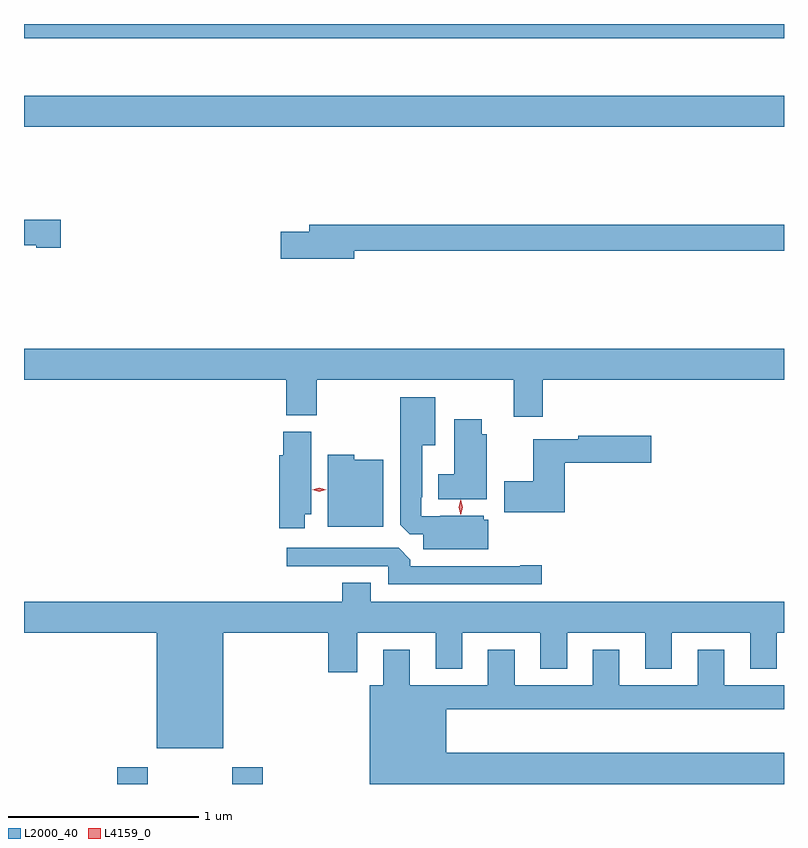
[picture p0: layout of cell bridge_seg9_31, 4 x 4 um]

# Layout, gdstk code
import gdstk
lib = gdstk.Library(unit=1e-6, precision=1e-09)
def R(c, l, rs):  # rectangles x0, y0, x1, y1
    for r in rs: c.add(gdstk.rectangle(r[:2], r[2:], *l))
def P(c, l, *ps):  # polygons
    for p in ps: c.add(gdstk.Polygon(p, *l))
L2000_40 = (2000, 40)
L4159_0 = (4159, 0)

bridge_seg9_31 = lib.new_cell('bridge_seg9_31')
R(bridge_seg9_31, L2000_40, [(986.099,1196.957,986.259,1197.046), (986.704,1196.957,986.864,1197.046), (985.607,1200.416,989.607,1200.58), (985.607,1200.882,989.607,1200.957)])
P(bridge_seg9_31, L2000_40, [(985.801,1199.927),(985.607,1199.927),(985.607,1199.792),(985.671,1199.792),(985.671,1199.78),(985.801,1199.78)],
  [(987.346,1199.764),(989.607,1199.764),(989.607,1199.9),(987.107,1199.9),(987.107,1199.864),(986.958,1199.864),(986.958,1199.722),(987.346,1199.722)],
  [(988.337,1199.084),(989.607,1199.084),(989.607,1199.248),(985.607,1199.248),(985.607,1199.084),(986.987,1199.084),(986.987,1198.897),(987.147,1198.897),(987.147,1199.084),(988.184,1199.084),(988.184,1198.89),(988.337,1198.89)],
  [(988.051,1198.347),(988.026,1198.347),(988.026,1198.369),(987.799,1198.369),(987.799,1198.365),(987.699,1198.365),(987.699,1198.465),(987.703,1198.465),(987.703,1198.739),(987.772,1198.739),(987.772,1198.993),(987.587,1198.993),(987.587,1198.321),(987.636,1198.272),(987.707,1198.272),(987.707,1198.193),(988.051,1198.193)],
  [(988.042,1198.797),(988.015,1198.797),(988.015,1198.876),(987.872,1198.876),(987.872,1198.588),(987.788,1198.588),(987.788,1198.457),(988.042,1198.457)],
  [(987.085,1198.376),(987.118,1198.376),(987.118,1198.812),(986.972,1198.812),(986.972,1198.686),(986.951,1198.686),(986.951,1198.302),(987.085,1198.302)],
  [(988.454,1198.649),(988.909,1198.649),(988.909,1198.791),(988.524,1198.791),(988.524,1198.771),(988.286,1198.771),(988.286,1198.551),(988.134,1198.551),(988.134,1198.388),(988.454,1198.388)],
  [(987.499,1198.663),(987.345,1198.663),(987.345,1198.69),(987.206,1198.69),(987.206,1198.31),(987.499,1198.31)],
  [(988.333,1198.109),(988.22,1198.109),(988.22,1198.104),(987.641,1198.104),(987.641,1198.138),(987.579,1198.2),(986.991,1198.2),(986.991,1198.104),(987.525,1198.104),(987.525,1198.008),(988.333,1198.008)],
  [(986.656,1197.752),(987.209,1197.752),(987.209,1197.546),(987.361,1197.546),(987.361,1197.752),(987.773,1197.752),(987.773,1197.563),(987.913,1197.563),(987.913,1197.752),(988.325,1197.752),(988.325,1197.563),(988.465,1197.563),(988.465,1197.752),(988.877,1197.752),(988.877,1197.563),(989.017,1197.563),(989.017,1197.752),(989.429,1197.752),(989.429,1197.563),(989.569,1197.563),(989.569,1197.752),(989.607,1197.752),(989.607,1197.916),(987.433,1197.916),(987.433,1198.015),(987.281,1198.015),(987.281,1197.916),(985.607,1197.916),(985.607,1197.752),(986.306,1197.752),(986.306,1197.146),(986.656,1197.146)],
  [(989.607,1197.121),(987.829,1197.121),(987.829,1197.35),(989.607,1197.35),(989.607,1197.478),(989.293,1197.478),(989.293,1197.664),(989.153,1197.664),(989.153,1197.478),(988.741,1197.478),(988.741,1197.664),(988.601,1197.664),(988.601,1197.478),(988.189,1197.478),(988.189,1197.664),(988.049,1197.664),(988.049,1197.478),(987.637,1197.478),(987.637,1197.664),(987.497,1197.664),(987.497,1197.478),(987.428,1197.478),(987.428,1196.957),(989.607,1196.957)])
P(bridge_seg9_31, L4159_0, [(987.905,1198.373),(987.895,1198.413),(987.905,1198.454),(987.905,1198.454),(987.905,1198.454),(987.915,1198.413),(987.906,1198.373),(987.906,1198.373)],
  [(987.161,1198.496),(987.123,1198.506),(987.123,1198.506),(987.123,1198.507),(987.161,1198.516),(987.199,1198.506),(987.199,1198.506),(987.199,1198.506)])

lib.write_gds('bridge_seg9_31.gds')
